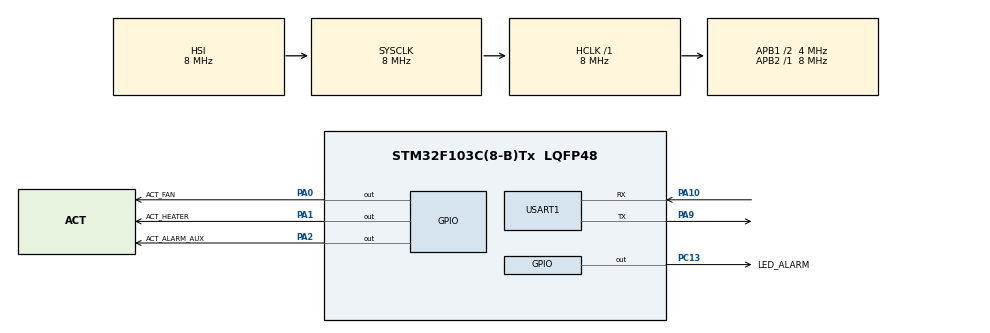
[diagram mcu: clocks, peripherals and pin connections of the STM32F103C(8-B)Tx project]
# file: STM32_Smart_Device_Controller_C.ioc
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FREERTOS.Queues01=sensorQueue,4,4,1,Dynamic,NULL,NULL;uartLineQueue,4,64,1,Dynamic,NULL,NULL
FREERTOS.Tasks01=SensorTask,24,128,StartSensorTask,Default,NULL,Dynamic,NULL,NULL;UartTask,24,256,StartUartTask,Default,NULL,Dynamic,NULL,NULL
FREERTOS.configUSE_NEWLIB_REENTRANT=1
Mcu.Family=STM32F1
Mcu.Name=STM32F103C(8-B)Tx
Mcu.Package=LQFP48
NVIC.PriorityGroup=NVIC_PRIORITYGROUP_4
NVIC.TIM2_IRQn=true\:5\:0\:false\:false\:true\:true\:true\:true\:true
NVIC.USART1_IRQn=true\:5\:0\:false\:false\:true\:true\:true\:true\:true
PA0-WKUP.GPIO_Label=ACT_FAN
PA0-WKUP.Signal=GPIO_Output
PA1.GPIO_Label=ACT_HEATER
PA1.Signal=GPIO_Output
PA10.Mode=Asynchronous
PA10.Signal=USART1_RX
PA2.GPIO_Label=ACT_ALARM_AUX
PA2.Signal=GPIO_Output
PA9.Mode=Asynchronous
PA9.Signal=USART1_TX
PC13-TAMPER-RTC.GPIO_Label=LED_ALARM
PC13-TAMPER-RTC.PinState=GPIO_PIN_SET
PC13-TAMPER-RTC.Signal=GPIO_Output
ProjectManager.HeapSize=0x200
ProjectManager.StackSize=0x400
ProjectManager.TargetToolchain=STM32CubeIDE
RCC.AHBFreq_Value=8000000
RCC.APB1CLKDivider=RCC_HCLK_DIV2
RCC.APB1Freq_Value=4000000
RCC.APB1TimFreq_Value=8000000
RCC.APB2Freq_Value=8000000
RCC.APB2TimFreq_Value=8000000
RCC.HCLKFreq_Value=8000000
RCC.PLLMUL=RCC_PLL_MUL9
RCC.SYSCLKFreq_VALUE=8000000
RCC.USBFreq_Value=36000000
TIM2.AutoReloadPreload=TIM_AUTORELOAD_PRELOAD_ENABLE
TIM2.Period=9999
TIM2.Prescaler=7999
USART1.VirtualMode=VM_ASYNC
VP_FREERTOS_VS_CMSIS_V2.Mode=CMSIS_V2
VP_SYS_VS_ND.Mode=No_Debug
VP_TIM2_VS_ClockSourceINT.Mode=Internal
board=custom

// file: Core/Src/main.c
/* USER CODE BEGIN Header */
/**
  ******************************************************************************
  * @file           : main.c
  * @brief          : Main program body
  ******************************************************************************
  * @attention
  *
  * Copyright (c) 2026 STMicroelectronics.
  * All rights reserved.
  *
  * This software is licensed under terms that can be found in the LICENSE file
  * in the root directory of this software component.
  * If no LICENSE file comes with this software, it is provided AS-IS.
  *
  ******************************************************************************
  */
/* USER CODE END Header */
#include "main.h"
#include "cmsis_os.h"
#include "tim.h"
#include "usart.h"
#include "gpio.h"

/* USER CODE BEGIN PV */
extern osThreadId_t SensorTaskHandle;
extern osThreadId_t UartTaskHandle;
extern osMessageQueueId_t uartLineQueueHandle;
#define RX_BUF_SIZE 64
uint8_t rxByte;                       /* single byte the HAL ISR fills */
char rxLine[RX_BUF_SIZE];             /* accumulated line */
volatile uint8_t rxLineIndex = 0;
volatile uint8_t rxLineReady = 0;     /* set when '\n' seen */
/* USER CODE END PV */

void SystemClock_Config(void);
void MX_FREERTOS_Init(void);

int main(void)
{

  /* MCU Configuration--------------------------------------------------------*/

  /* Reset of all peripherals, Initializes the Flash interface and the Systick. */
  HAL_Init();

  /* Configure the system clock */
  SystemClock_Config();

  /* Initialize all configured peripherals */
  MX_GPIO_Init();
  MX_TIM2_Init();
  MX_USART1_UART_Init();
  /* USER CODE BEGIN 2 */
  HAL_TIM_Base_Start_IT(&htim2);
  HAL_UART_Receive_IT(&huart1, &rxByte, 1);
  /* USER CODE END 2 */

  /* Init scheduler */
  osKernelInitialize();  /* Call init function for freertos objects (in cmsis_os2.c) */
  MX_FREERTOS_Init();

  /* Start scheduler */
  osKernelStart();

  /* We should never get here as control is now taken by the scheduler */

  /* Infinite loop */
  while (1)
  {

  }
}

void SystemClock_Config(void)
{
  RCC_OscInitTypeDef RCC_OscInitStruct = {0};
  RCC_ClkInitTypeDef RCC_ClkInitStruct = {0};

  /** Initializes the RCC Oscillators according to the specified parameters
  * in the RCC_OscInitTypeDef structure.
  */
  RCC_OscInitStruct.OscillatorType = RCC_OSCILLATORTYPE_HSI;
  RCC_OscInitStruct.HSIState = RCC_HSI_ON;
  RCC_OscInitStruct.HSICalibrationValue = RCC_HSICALIBRATION_DEFAULT;
  RCC_OscInitStruct.PLL.PLLState = RCC_PLL_NONE;
  if (HAL_RCC_OscConfig(&RCC_OscInitStruct) != HAL_OK)
  {
    Error_Handler();
  }

  /** Initializes the CPU, AHB and APB buses clocks
  */
  RCC_ClkInitStruct.ClockType = RCC_CLOCKTYPE_HCLK|RCC_CLOCKTYPE_SYSCLK
                              |RCC_CLOCKTYPE_PCLK1|RCC_CLOCKTYPE_PCLK2;
  RCC_ClkInitStruct.SYSCLKSource = RCC_SYSCLKSOURCE_HSI;
  RCC_ClkInitStruct.AHBCLKDivider = RCC_SYSCLK_DIV1;
  RCC_ClkInitStruct.APB1CLKDivider = RCC_HCLK_DIV2;
  RCC_ClkInitStruct.APB2CLKDivider = RCC_HCLK_DIV1;

  if (HAL_RCC_ClockConfig(&RCC_ClkInitStruct, FLASH_LATENCY_0) != HAL_OK)
  {
    Error_Handler();
  }
}

/* USER CODE BEGIN 4 */
void HAL_TIM_PeriodElapsedCallback(TIM_HandleTypeDef *htim)
{
  if (htim->Instance == TIM2)
  {
    osThreadFlagsSet(SensorTaskHandle, 0x0001);
  }
}

void HAL_UART_RxCpltCallback(UART_HandleTypeDef *huart)
{
  if (huart->Instance == USART1)
  {
    if (rxByte == '\r')
    {
      rxLine[rxLineIndex] = '\0';
      osMessageQueuePut(uartLineQueueHandle, rxLine, 0, 0);
      rxLineIndex = 0;
    }
    else if (rxByte == '\n')
    {
      /* ignore - part of a CRLF pair */
    }
    else if (rxLineIndex < (RX_BUF_SIZE - 1))
    {
      rxLine[rxLineIndex++] = rxByte;
    }
    HAL_UART_Receive_IT(&huart1, &rxByte, 1);
  }
}
/* USER CODE END 4 */

void Error_Handler(void)
{
  __disable_irq();
  while (1)
  {
  }
}

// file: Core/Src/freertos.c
/* USER CODE BEGIN Header */
/**
  ******************************************************************************
  * File Name          : freertos.c
  * Description        : Code for freertos applications
  ******************************************************************************
  * @attention
  *
  * Copyright (c) 2026 STMicroelectronics.
  * All rights reserved.
  *
  * This software is licensed under terms that can be found in the LICENSE file
  * in the root directory of this software component.
  * If no LICENSE file comes with this software, it is provided AS-IS.
  *
  ******************************************************************************
  */
/* USER CODE END Header */

#include "FreeRTOS.h"
#include "task.h"
#include "main.h"
#include "cmsis_os.h"

/* USER CODE BEGIN Includes */
#include <stdio.h>
#include <string.h>
#include <stdlib.h>
/* USER CODE END Includes */

/* USER CODE BEGIN PD */
#define RX_BUF_SIZE 64
/* USER CODE END PD */

/* USER CODE BEGIN Variables */
typedef enum { MODE_AUTO, MODE_MANUAL } SystemMode_t;

volatile SystemMode_t systemMode = MODE_AUTO;
volatile uint8_t currentTemp = 20;
volatile uint8_t tempThreshold = 30;
volatile uint8_t criticalThreshold = 40;

volatile uint8_t fanState = 0;
volatile uint8_t heaterState = 0;
volatile uint8_t alarmAuxState = 0;

extern UART_HandleTypeDef huart1;

static void UartTask_SendString(const char *s)
{
  HAL_UART_Transmit(&huart1, (uint8_t *)s, strlen(s), 100);
}
/* USER CODE END Variables */
/* Definitions for SensorTask */
osThreadId_t SensorTaskHandle;
const osThreadAttr_t SensorTask_attributes = {
  .name = "SensorTask",
  .stack_size = 128 * 4,
  .priority = (osPriority_t) osPriorityNormal,
};
/* Definitions for UartTask */
osThreadId_t UartTaskHandle;
const osThreadAttr_t UartTask_attributes = {
  .name = "UartTask",
  .stack_size = 256 * 4,
  .priority = (osPriority_t) osPriorityNormal,
};
/* Definitions for sensorQueue */
osMessageQueueId_t sensorQueueHandle;
const osMessageQueueAttr_t sensorQueue_attributes = {
  .name = "sensorQueue"
};
/* Definitions for uartLineQueue */
osMessageQueueId_t uartLineQueueHandle;
const osMessageQueueAttr_t uartLineQueue_attributes = {
  .name = "uartLineQueue"
};

void StartSensorTask(void *argument);
void StartUartTask(void *argument);

void MX_FREERTOS_Init(void); /* (MISRA C 2004 rule 8.1) */

void MX_FREERTOS_Init(void) {

  /* Create the queue(s) */
  /* creation of sensorQueue */
	/* creation of sensorQueue */
	sensorQueueHandle = osMessageQueueNew (1, 4, &sensorQueue_attributes);

  /* creation of uartLineQueue */
  uartLineQueueHandle = osMessageQueueNew (4, 64, &uartLineQueue_attributes);

  /* Create the thread(s) */
  /* creation of SensorTask */
  SensorTaskHandle = osThreadNew(StartSensorTask, NULL, &SensorTask_attributes);

  /* creation of UartTask */
  UartTaskHandle = osThreadNew(StartUartTask, NULL, &UartTask_attributes);

}

void StartSensorTask(void *argument)
{
  /* USER CODE BEGIN StartSensorTask */
  uint32_t flags;
  for(;;)
  {
    /* Block here until TIM2's ISR wakes us - this is what keeps the task
       from spinning uselessly; it sleeps until there's real work to do */
    flags = osThreadFlagsWait(0x0001, osFlagsWaitAny, osWaitForever);

    if (flags & 0x0001)
    {
      /* Simulate a drifting temperature reading (0-44, wraps around) */
      currentTemp = (currentTemp + 1) % 45;

      if (systemMode == MODE_AUTO)
      {
        fanState = (currentTemp > tempThreshold) ? 1 : 0;
        heaterState = (currentTemp < 10) ? 1 : 0;

        HAL_GPIO_WritePin(ACT_FAN_GPIO_Port, ACT_FAN_Pin,
                           fanState ? GPIO_PIN_SET : GPIO_PIN_RESET);
        HAL_GPIO_WritePin(ACT_HEATER_GPIO_Port, ACT_HEATER_Pin,
                           heaterState ? GPIO_PIN_SET : GPIO_PIN_RESET);
      }

      /* Critical alarm overrides mode entirely - LED blinks fast */
      if (currentTemp > criticalThreshold)
      {
        HAL_GPIO_TogglePin(LED_ALARM_GPIO_Port, LED_ALARM_Pin);
      }
      else
      {
        /* active-low LED, so SET = off */
        HAL_GPIO_WritePin(LED_ALARM_GPIO_Port, LED_ALARM_Pin, GPIO_PIN_SET);
      }

      /* Pack status into one uint32_t (matches our 4-byte queue item size)
         so UartTask can report it later via STATUS */
      uint32_t status = ((uint32_t)currentTemp)
                       | ((uint32_t)systemMode   << 8)
                       | ((uint32_t)fanState     << 16)
                       | ((uint32_t)heaterState  << 24);

      /* Overwrite semantics: discard any unread previous value so
         sensorQueue always holds only the single most recent snapshot */
      uint32_t discard;
      osMessageQueueGet(sensorQueueHandle, &discard, NULL, 0);
      osMessageQueuePut(sensorQueueHandle, &status, 0, 0);
    }
  }
  /* USER CODE END StartSensorTask */
}

void StartUartTask(void *argument)
{
  /* USER CODE BEGIN StartUartTask */
  char line[RX_BUF_SIZE];
  char txBuf[80];

  UartTask_SendString("\r\n=== Smart Device Controller Ready ===\r\n");

  for(;;)
  {
    /* Blocks here until a complete line is pushed by the RX ISR.
       Each line arrives as its own queue item now, so rapid back-to-back
       commands queue up cleanly instead of overwriting a shared buffer. */
    if (osMessageQueueGet(uartLineQueueHandle, line, NULL, osWaitForever) == osOK)
    {
      if (strncmp(line, "STATUS", 6) == 0)
      {
        uint32_t status;
        if (osMessageQueueGet(sensorQueueHandle, &status, NULL, 0) == osOK)
        {
          uint8_t temp  = status & 0xFF;
          uint8_t mode  = (status >> 8) & 0xFF;
          uint8_t fan   = (status >> 16) & 0xFF;
          uint8_t heat  = (status >> 24) & 0xFF;

          snprintf(txBuf, sizeof(txBuf),
                   "TEMP=%d MODE=%s FAN=%s HEATER=%s\r\n",
                   temp,
                   mode == MODE_AUTO ? "AUTO" : "MANUAL",
                   fan ? "ON" : "OFF",
                   heat ? "ON" : "OFF");
        }
        else
        {
          snprintf(txBuf, sizeof(txBuf), "TEMP=%d (no fresh reading)\r\n", currentTemp);
        }
        UartTask_SendString(txBuf);
      }
      else if (strncmp(line, "MODE AUTO", 9) == 0)
      {
        systemMode = MODE_AUTO;
        UartTask_SendString("OK: mode=AUTO\r\n");
      }
      else if (strncmp(line, "MODE MANUAL", 11) == 0)
      {
        systemMode = MODE_MANUAL;
        UartTask_SendString("OK: mode=MANUAL\r\n");
      }
      else if (strncmp(line, "SET THRESHOLD", 13) == 0)
      {
        int val = atoi(line + 14);
        tempThreshold = (uint8_t)val;
        snprintf(txBuf, sizeof(txBuf), "OK: threshold=%d\r\n", tempThreshold);
        UartTask_SendString(txBuf);
      }
      else if (strncmp(line, "SET PA0 ", 8) == 0)
      {
        if (systemMode != MODE_MANUAL)
        {
          UartTask_SendString("ERR: switch to MODE MANUAL first\r\n");
        }
        else
        {
          fanState = (strstr(line, "ON") != NULL) ? 1 : 0;
          HAL_GPIO_WritePin(ACT_FAN_GPIO_Port, ACT_FAN_Pin,
                             fanState ? GPIO_PIN_SET : GPIO_PIN_RESET);
          UartTask_SendString(fanState ? "OK: PA0=ON\r\n" : "OK: PA0=OFF\r\n");
        }
      }
      else if (strncmp(line, "SET PA1 ", 8) == 0)
      {
        if (systemMode != MODE_MANUAL)
        {
          UartTask_SendString("ERR: switch to MODE MANUAL first\r\n");
        }
        else
        {
          heaterState = (strstr(line, "ON") != NULL) ? 1 : 0;
          HAL_GPIO_WritePin(ACT_HEATER_GPIO_Port, ACT_HEATER_Pin,
                             heaterState ? GPIO_PIN_SET : GPIO_PIN_RESET);
          UartTask_SendString(heaterState ? "OK: PA1=ON\r\n" : "OK: PA1=OFF\r\n");
        }
      }
      else if (strncmp(line, "SET PA2 ", 8) == 0)
      {
        if (systemMode != MODE_MANUAL)
        {
          UartTask_SendString("ERR: switch to MODE MANUAL first\r\n");
        }
        else
        {
          alarmAuxState = (strstr(line, "ON") != NULL) ? 1 : 0;
          HAL_GPIO_WritePin(ACT_ALARM_AUX_GPIO_Port, ACT_ALARM_AUX_Pin,
                             alarmAuxState ? GPIO_PIN_SET : GPIO_PIN_RESET);
          UartTask_SendString(alarmAuxState ? "OK: PA2=ON\r\n" : "OK: PA2=OFF\r\n");
        }
      }
      else
      {
        UartTask_SendString("ERR: unknown command\r\n");
      }
    }
  }
  /* USER CODE END StartUartTask */
}
